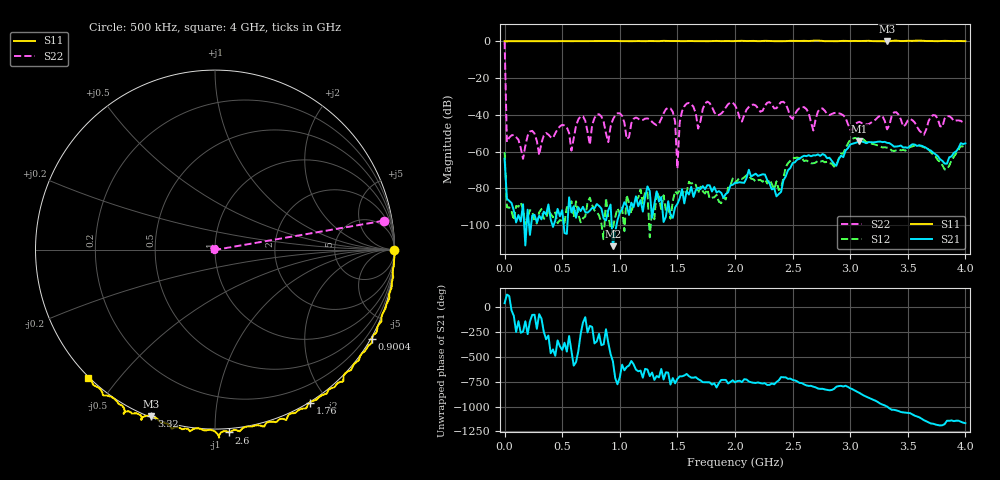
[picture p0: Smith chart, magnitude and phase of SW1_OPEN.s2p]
# Hz S DB R 50
! CMT, S5180, 51801906, 22.3.3/1
! Date: 27/01/2023 17:16:52
! Data: Format (Calibration Info)
! Freq	S11:dB/Ang(F2)	S21:dB/Ang(F2)	S12:dB/Ang(F2)	S22:dB/Ang(F2)
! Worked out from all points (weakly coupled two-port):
!   201 points, 500 kHz to 4 GHz, reference 50 ohm
!   highest |S21| = -54.44 dB at 3.08 GHz (marker M1); lowest = -111.4 dB at 940.4 MHz (marker M2)
!   lowest |S11| = -0.1 dB at 3.32 GHz (marker M3), VSWR 259.95, Z = 0.283 - j34.4 ohm
!   |S11| at or under -10 dB: nowhere
!   |S22| runs from -69.2 to -0.4 dB; largest |S21 - S12| = 0.0016
!   S11 on the Smith chart (normalised r, x): 500 kHz: open; 900.4 MHz: -0.05, -3.76; 1.76 GHz: -0.01, -1.80; 2.6 GHz: -0.02, -1.08; 3.32 GHz: 0.01, -0.69; 4 GHz: -0.00, -0.42
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500000  -0.04 -0.1  -63.89 37.4  -60.32 -132.2  -0.42 9.7
2.04975e7  -0.02 -0.7  -85.66 123.9  -90.27 62.1  -54.74 -91.6
1.6048e8  0.01 -4.9  -88.62 110.5  -91.18 97.7  -63.96 -28.0
5.004375e8  0.07 -16.0  -91.82 -72.1  -97.62 30.6  -45.47 62.6
5.804275e8  0.04 -18.7  -93.08 -84.0  -87.00 -6.3  -59.48 148.8
6.80415e8  0.02 -22.4  -90.00 -157.7  -96.28 -75.5  -40.77 -155.1
9.003875e8  0.05 -29.8  -91.90 -0.0  -95.25 147.2  -54.85 174.4
9.403825e8  0.14 -30.7  -111.41 174.1  -101.40 163.4  -42.56 -66.8
1.340332e9  0.05 -44.6  -87.15 12.3  -84.67 28.5  -44.90 -141.1
1.460318e9  0.10 -48.2  -96.00 5.9  -87.11 68.1  -38.44 1.4
1.500312e9  0.12 -49.3  -88.42 -2.0  -82.96 27.0  -69.21 45.7
1.540308e9  0.05 -50.7  -80.45 23.1  -83.64 65.7  -38.13 -30.5
1.68029e9  0.06 -55.2  -79.68 -5.3  -82.62 2.3  -47.50 134.6
1.76028e9  0.02 -58.2  -78.26 -36.1  -80.56 -20.4  -32.83 129.6
2.00025e9  0.10 -66.4  -77.08 -37.2  -77.04 4.1  -34.77 -74.5
2.4002e9  0.02 -79.4  -81.88 15.3  -79.95 69.3  -33.07 130.6
2.600175e9  0.19 -85.6  -62.26 -58.2  -65.15 -38.0  -35.85 -71.9
2.680165e9  0.31 -88.7  -62.01 -81.3  -66.35 -53.9  -48.52 -20.0
3.080115e9  0.09 -101.9  -54.44 -143.3  -52.67 -122.9  -43.81 -113.0
3.320085e9  -0.07 -110.9  -55.24 79.5  -57.82 121.8  -47.90 78.1
3.340082e9  0.02 -112.5  -55.39 62.5  -58.02 113.2  -45.62 43.3
4e9  0.04 -134.8  -55.53 -87.2  -57.48 -47.2  -44.67 143.0
